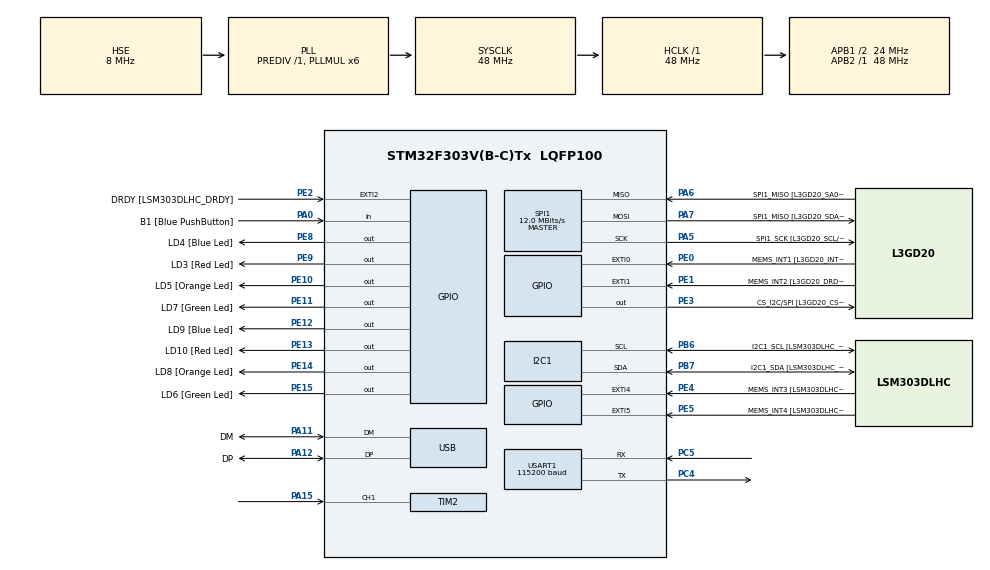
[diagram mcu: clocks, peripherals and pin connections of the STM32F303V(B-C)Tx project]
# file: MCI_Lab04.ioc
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I2C1.Timing=0x00201D2B
I2C1.Timing-I2C=0x2000090E
Mcu.Family=STM32F3
Mcu.Name=STM32F303V(B-C)Tx
Mcu.Package=LQFP100
NVIC.PriorityGroup=NVIC_PRIORITYGROUP_0
NVIC.TIM2_IRQn=true\:0\:0\:false\:false\:true\:true\:true\:true
NVIC.USB_LP_CAN_RX0_IRQn=true\:0\:0\:false\:false\:true\:false\:true\:true
PA0.GPIO_Label=B1 [Blue PushButton]
PA0.Signal=GPIO_Input
PA11.GPIO_Label=DM
PA11.Mode=Device
PA11.Signal=USB_DM
PA12.GPIO_Label=DP
PA12.Mode=Device
PA12.Signal=USB_DP
PA13.GPIO_Label=SWDIO
PA13.Mode=Serial_Wire
PA13.Signal=SYS_JTMS-SWDIO
PA14.GPIO_Label=SWCLK
PA14.Mode=Serial_Wire
PA14.Signal=SYS_JTCK-SWCLK
PA15.Signal=S_TIM2_CH1_ETR
PA5.GPIO_Label=SPI1_SCK [L3GD20_SCL/SPC]
PA5.Mode=Full_Duplex_Master
PA5.Signal=SPI1_SCK
PA6.GPIO_Label=SPI1_MISO [L3GD20_SA0/SDO]
PA6.Mode=Full_Duplex_Master
PA6.Signal=SPI1_MISO
PA7.GPIO_Label=SPI1_MISO [L3GD20_SDA/SDI/SDO]
PA7.Mode=Full_Duplex_Master
PA7.Signal=SPI1_MOSI
PB3.GPIO_Label=SWO
PB3.Signal=SYS_JTDO-TRACESWO
PB6.GPIO_Label=I2C1_SCL [LSM303DLHC_SCL]
PB6.GPIO_Pu=GPIO_PULLUP
PB6.Mode=I2C
PB6.Signal=I2C1_SCL
PB7.GPIO_Label=I2C1_SDA [LSM303DLHC_SDA]
PB7.GPIO_Pu=GPIO_PULLUP
PB7.Mode=I2C
PB7.Signal=I2C1_SDA
PC14-OSC32_IN.GPIO_Label=OSC32_IN
PC14-OSC32_IN.Signal=RCC_OSC32_IN
PC15-OSC32_OUT.GPIO_Label=OSC32_OUT
PC15-OSC32_OUT.Signal=RCC_OSC32_OUT
PC4.Mode=Asynchronous
PC4.Signal=USART1_TX
PC5.Mode=Asynchronous
PC5.Signal=USART1_RX
PE0.GPIO_Label=MEMS_INT1 [L3GD20_INT1]
PE0.GPIO_ModeDefaultEXTI=GPIO_MODE_EVT_RISING
PE0.Signal=GPXTI0
PE1.GPIO_Label=MEMS_INT2 [L3GD20_DRDY/INT2]
PE1.GPIO_ModeDefaultEXTI=GPIO_MODE_EVT_RISING
PE1.Signal=GPXTI1
PE10.GPIO_Label=LD5 [Orange Led]
PE10.Signal=GPIO_Output
PE11.GPIO_Label=LD7 [Green Led]
PE11.Signal=GPIO_Output
PE12.GPIO_Label=LD9 [Blue Led]
PE12.Signal=GPIO_Output
PE13.GPIO_Label=LD10 [Red Led]
PE13.Signal=GPIO_Output
PE14.GPIO_Label=LD8 [Orange Led]
PE14.Signal=GPIO_Output
PE15.GPIO_Label=LD6 [Green Led]
PE15.Signal=GPIO_Output
PE2.GPIO_Label=DRDY [LSM303DLHC_DRDY]
PE2.GPIO_ModeDefaultEXTI=GPIO_MODE_EVT_RISING
PE2.Signal=GPXTI2
PE3.GPIO_Label=CS_I2C/SPI [L3GD20_CS_I2C/SPI]
PE3.Signal=GPIO_Output
PE4.GPIO_Label=MEMS_INT3 [LSM303DLHC_INT1]
PE4.GPIO_ModeDefaultEXTI=GPIO_MODE_EVT_RISING
PE4.Signal=GPXTI4
PE5.GPIO_Label=MEMS_INT4 [LSM303DLHC_INT2]
PE5.GPIO_ModeDefaultEXTI=GPIO_MODE_EVT_RISING
PE5.Signal=GPXTI5
PE8.GPIO_Label=LD4 [Blue Led]
PE8.Signal=GPIO_Output
PE9.GPIO_Label=LD3 [Red Led]
PE9.Signal=GPIO_Output
PF0-OSC_IN.GPIO_Label=OSC_IN
PF0-OSC_IN.Mode=HSE-External-Clock-Source
PF0-OSC_IN.Signal=RCC_OSC_IN
PF1-OSC_OUT.GPIO_Label=OSC_OUT
PF1-OSC_OUT.Signal=RCC_OSC_OUT
ProjectManager.HeapSize=0x200
ProjectManager.StackSize=0x400
ProjectManager.TargetToolchain=CMake
RCC.AHBFreq_Value=48000000
RCC.APB1CLKDivider=RCC_HCLK_DIV2
RCC.APB1Freq_Value=24000000
RCC.APB1TimFreq_Value=48000000
RCC.APB2Freq_Value=48000000
RCC.APB2TimFreq_Value=48000000
RCC.CortexFreq_Value=48000000
RCC.HCLKFreq_Value=48000000
RCC.HSE_VALUE=8000000
RCC.HSI_VALUE=8000000
RCC.LSE_VALUE=32768
RCC.PLLMUL=RCC_PLL_MUL6
RCC.SYSCLKFreq_VALUE=48000000
RCC.SYSCLKSourceVirtual=RCC_SYSCLKSOURCE_PLLCLK
RCC.USBFreq_Value=48000000
SH.S_TIM2_CH1_ETR.0=TIM2_CH1,Input_Capture1_from_TI1
SPI1.BaudRatePrescaler=SPI_BAUDRATEPRESCALER_4
SPI1.BaudRatePrescaler-Full_Duplex_Master=SPI_BAUDRATEPRESCALER_2
SPI1.CalculateBaudRate=12.0 MBits/s
SPI1.CalculateBaudRate-Full_Duplex_Master=24.0 MBits/s
SPI1.Direction=SPI_DIRECTION_2LINES
SPI1.Mode=SPI_MODE_MASTER
SPI1.Mode-Full_Duplex_Master=SPI_MODE_MASTER
SPI1.VirtualType=VM_MASTER
TIM2.Channel-Input_Capture1_from_TI1=TIM_CHANNEL_1
TIM2.Period=65535
TIM2.Prescaler=47
USART1.BaudRate=115200
USART1.VirtualMode-Asynchronous=VM_ASYNC
USB_DEVICE.CLASS_NAME_FS=CDC
USB_DEVICE.VirtualMode=Cdc
USB_DEVICE.VirtualModeFS=Cdc_FS
VP_USB_DEVICE_VS_USB_DEVICE_CDC_FS.Mode=CDC_FS
board=STM32F3DISCOVERY

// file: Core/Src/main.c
/* USER CODE BEGIN Header */
/**
  ******************************************************************************
  * @file           : main.c
  * @brief          : Main program body
  ******************************************************************************
  * @attention
  *
  * Copyright (c) 2026 STMicroelectronics.
  * All rights reserved.
  *
  * This software is licensed under terms that can be found in the LICENSE file
  * in the root directory of this software component.
  * If no LICENSE file comes with this software, it is provided AS-IS.
  *
  ******************************************************************************
  */
/* USER CODE END Header */
#include "main.h"
#include "usb_device.h"

/* USER CODE BEGIN Includes */
#include <stdarg.h>
#include <stdio.h>
#include <string.h>
/* USER CODE END Includes */

I2C_HandleTypeDef hi2c1;

SPI_HandleTypeDef hspi1;

TIM_HandleTypeDef htim2;

UART_HandleTypeDef huart1;

/* USER CODE BEGIN PV */
// // Task 4: LED counters
uint32_t count_red = 0;
uint32_t count_blue = 0;
uint32_t count_green = 0;

uint32_t ic_val1 = 0;      // First capture timestamp
uint32_t ic_val2 = 0;      // Second capture timestamp
uint32_t difference = 0;   // The period (in timer ticks)
uint8_t is_first_capture = 1; // Flag to track step 1 vs step 2

/* USER CODE END PV */

void SystemClock_Config(void);
static void MX_GPIO_Init(void);
static void MX_I2C1_Init(void);
static void MX_SPI1_Init(void);
static void MX_TIM2_Init(void);
static void MX_USART1_UART_Init(void);

/* USER CODE BEGIN 0 */
void delay_ms(uint32_t ms)
{
  __HAL_TIM_SET_COUNTER(&htim2, 0);
  HAL_TIM_Base_Start(&htim2);
  while (__HAL_TIM_GET_COUNTER(&htim2) < ms){}
  HAL_TIM_Base_Stop(&htim2);
}
    uint32_t a = 0;
    uint32_t b = 0;
    uint32_t c = 0;

  void HAL_TIM_PeriodElapsedCallback(TIM_HandleTypeDef *htim){

    if (htim->Instance == TIM2) {
      a++;
      b++;
      c++;
    }
    if(a>=500){
      HAL_GPIO_TogglePin(GPIOE, LD3_Pin);
      a=0;
    }
    if(b>=200){
      HAL_GPIO_TogglePin(GPIOE, LD4_Pin);
      b=0;
    }
    if(c>=100){
      HAL_GPIO_TogglePin(GPIOE, LD7_Pin);
      c=0;
    }

 }

 void myPrintf(const char *fmt, ...){
    char buffer[100];
    va_list args;
    va_start(args, fmt);
    vsnprintf(buffer, sizeof(buffer), fmt, args);
    va_end(args);

    uint8_t length = strlen(buffer);
    HAL_UART_Transmit(&huart1, (uint8_t *)buffer, length, HAL_MAX_DELAY);

  }

//  uint32_t last_capture = 0, period = 0;
//  uint32_t frequency = 0;
//  void HAL_TIM_IC_CaptureCallback ( TIM_HandleTypeDef *htim) {
//     if (htim -> Channel == HAL_TIM_ACTIVE_CHANNEL_1 ) {
//     uint32_t current_capture = HAL_TIM_ReadCapturedValue (htim , TIM_CHANNEL_1 );
//     period = current_capture - last_capture ;
//     last_capture = current_capture;
//     frequency = 1000/(period*7999);
//   }
//  }

//  void HAL_TIM_IC_CaptureCallback(TIM_HandleTypeDef *htim)
// {
//     if (htim->Channel == HAL_TIM_ACTIVE_CHANNEL_1)
//     {
//         if (is_first_capture)
//         {
//             ic_val1 = HAL_TIM_ReadCapturedValue(htim, TIM_CHANNEL_1);
//             is_first_capture = 0;
//         }
//         else
//         {
//             ic_val2 = HAL_TIM_ReadCapturedValue(htim, TIM_CHANNEL_1);

//             // Calculate difference, handling 16-bit counter rollover
//             if (ic_val2 > ic_val1) {
//                 difference = ic_val2 - ic_val1;
//             } else {
//                 difference = (0xFFFF - ic_val1) + ic_val2;
//             }

//             // Calc Frequency: Clock is 1MHz (48MHz / 48), so F = 1,000,000 / Period
//             if (difference != 0) {
//                 frequency = 1000 / (float)difference;
//             }

//             is_first_capture = 1;
//         }
//     }
// }
//float last_capture = 0.0f;
//float frequency = 0.0f;

volatile uint32_t last_capture = 0, period = 0;
float frequency = 0.0f;

void HAL_TIM_IC_CaptureCallback(TIM_HandleTypeDef *htim)
{
    if (htim->Channel == HAL_TIM_ACTIVE_CHANNEL_1) {
        uint32_t current_capture = HAL_TIM_ReadCapturedValue(htim, TIM_CHANNEL_1);
        period = current_capture - last_capture;
        last_capture = current_capture;
        if (period != 0) {
            frequency = 1000000.0f / (float)period;
        }
    }
}
/* USER CODE END 0 */

int main(void)
{

  /* MCU Configuration--------------------------------------------------------*/

  /* Reset of all peripherals, Initializes the Flash interface and the Systick. */
  HAL_Init();

  /* Configure the system clock */
  SystemClock_Config();

  /* Initialize all configured peripherals */
  MX_GPIO_Init();
  MX_I2C1_Init();
  MX_SPI1_Init();
  MX_TIM2_Init();
  MX_USART1_UART_Init();
  MX_USB_DEVICE_Init();
  /* USER CODE BEGIN 2 */
  //HAL_TIM_Base_Start_IT(&htim2);
  // HAL_TIM_IC_Start_IT(&htim2, TIM_CHANNEL_1);

  HAL_TIM_IC_Start_IT(&htim2, TIM_CHANNEL_1);

  //myPrintf("Frequency: %.2f Hz\r\n", frequency);
  //myPrintf("frequency is %d Hz\n\r", frequency);
  /* USER CODE END 2 */

  /* Infinite loop */
  while (1)
  {
    myPrintf("Period = %lu ms, Frequency = %.2f Hz\r\n", period, frequency);
    HAL_Delay(500);
    /* USER CODE BEGIN 3 */
     // Print frequency to Terminal (baud 38400)
    //myPrintf("Frequency: %.2f Hz\r\n", frequency);
//myPrintf("test");
    // HAL_GPIO_TogglePin(GPIOE,  LD7_Pin);
    // delay_ms(1000);

  }
  /* USER CODE END 3 */
}

void SystemClock_Config(void)
{
  RCC_OscInitTypeDef RCC_OscInitStruct = {0};
  RCC_ClkInitTypeDef RCC_ClkInitStruct = {0};
  RCC_PeriphCLKInitTypeDef PeriphClkInit = {0};

  /** Initializes the RCC Oscillators according to the specified parameters
  * in the RCC_OscInitTypeDef structure.
  */
  RCC_OscInitStruct.OscillatorType = RCC_OSCILLATORTYPE_HSI|RCC_OSCILLATORTYPE_HSE;
  RCC_OscInitStruct.HSEState = RCC_HSE_BYPASS;
  RCC_OscInitStruct.HSEPredivValue = RCC_HSE_PREDIV_DIV1;
  RCC_OscInitStruct.HSIState = RCC_HSI_ON;
  RCC_OscInitStruct.HSICalibrationValue = RCC_HSICALIBRATION_DEFAULT;
  RCC_OscInitStruct.PLL.PLLState = RCC_PLL_ON;
  RCC_OscInitStruct.PLL.PLLSource = RCC_PLLSOURCE_HSE;
  RCC_OscInitStruct.PLL.PLLMUL = RCC_PLL_MUL6;
  if (HAL_RCC_OscConfig(&RCC_OscInitStruct) != HAL_OK)
  {
    Error_Handler();
  }

  /** Initializes the CPU, AHB and APB buses clocks
  */
  RCC_ClkInitStruct.ClockType = RCC_CLOCKTYPE_HCLK|RCC_CLOCKTYPE_SYSCLK
                              |RCC_CLOCKTYPE_PCLK1|RCC_CLOCKTYPE_PCLK2;
  RCC_ClkInitStruct.SYSCLKSource = RCC_SYSCLKSOURCE_PLLCLK;
  RCC_ClkInitStruct.AHBCLKDivider = RCC_SYSCLK_DIV1;
  RCC_ClkInitStruct.APB1CLKDivider = RCC_HCLK_DIV2;
  RCC_ClkInitStruct.APB2CLKDivider = RCC_HCLK_DIV1;

  if (HAL_RCC_ClockConfig(&RCC_ClkInitStruct, FLASH_LATENCY_1) != HAL_OK)
  {
    Error_Handler();
  }
  PeriphClkInit.PeriphClockSelection = RCC_PERIPHCLK_USB|RCC_PERIPHCLK_USART1
                              |RCC_PERIPHCLK_I2C1;
  PeriphClkInit.Usart1ClockSelection = RCC_USART1CLKSOURCE_PCLK2;
  PeriphClkInit.I2c1ClockSelection = RCC_I2C1CLKSOURCE_HSI;
  PeriphClkInit.USBClockSelection = RCC_USBCLKSOURCE_PLL;
  if (HAL_RCCEx_PeriphCLKConfig(&PeriphClkInit) != HAL_OK)
  {
    Error_Handler();
  }
}

static void MX_I2C1_Init(void)
{

  hi2c1.Instance = I2C1;
  hi2c1.Init.Timing = 0x00201D2B;
  hi2c1.Init.OwnAddress1 = 0;
  hi2c1.Init.AddressingMode = I2C_ADDRESSINGMODE_7BIT;
  hi2c1.Init.DualAddressMode = I2C_DUALADDRESS_DISABLE;
  hi2c1.Init.OwnAddress2 = 0;
  hi2c1.Init.OwnAddress2Masks = I2C_OA2_NOMASK;
  hi2c1.Init.GeneralCallMode = I2C_GENERALCALL_DISABLE;
  hi2c1.Init.NoStretchMode = I2C_NOSTRETCH_DISABLE;
  if (HAL_I2C_Init(&hi2c1) != HAL_OK)
  {
    Error_Handler();
  }

  /** Configure Analogue filter
  */
  if (HAL_I2CEx_ConfigAnalogFilter(&hi2c1, I2C_ANALOGFILTER_ENABLE) != HAL_OK)
  {
    Error_Handler();
  }

  /** Configure Digital filter
  */
  if (HAL_I2CEx_ConfigDigitalFilter(&hi2c1, 0) != HAL_OK)
  {
    Error_Handler();
  }

}

static void MX_SPI1_Init(void)
{

  /* SPI1 parameter configuration*/
  hspi1.Instance = SPI1;
  hspi1.Init.Mode = SPI_MODE_MASTER;
  hspi1.Init.Direction = SPI_DIRECTION_2LINES;
  hspi1.Init.DataSize = SPI_DATASIZE_4BIT;
  hspi1.Init.CLKPolarity = SPI_POLARITY_LOW;
  hspi1.Init.CLKPhase = SPI_PHASE_1EDGE;
  hspi1.Init.NSS = SPI_NSS_SOFT;
  hspi1.Init.BaudRatePrescaler = SPI_BAUDRATEPRESCALER_4;
  hspi1.Init.FirstBit = SPI_FIRSTBIT_MSB;
  hspi1.Init.TIMode = SPI_TIMODE_DISABLE;
  hspi1.Init.CRCCalculation = SPI_CRCCALCULATION_DISABLE;
  hspi1.Init.CRCPolynomial = 7;
  hspi1.Init.CRCLength = SPI_CRC_LENGTH_DATASIZE;
  hspi1.Init.NSSPMode = SPI_NSS_PULSE_ENABLE;
  if (HAL_SPI_Init(&hspi1) != HAL_OK)
  {
    Error_Handler();
  }

}

static void MX_TIM2_Init(void)
{

  TIM_MasterConfigTypeDef sMasterConfig = {0};
  TIM_IC_InitTypeDef sConfigIC = {0};

  htim2.Instance = TIM2;
  htim2.Init.Prescaler = 47;
  htim2.Init.CounterMode = TIM_COUNTERMODE_UP;
  htim2.Init.Period = 65535;
  htim2.Init.ClockDivision = TIM_CLOCKDIVISION_DIV1;
  htim2.Init.AutoReloadPreload = TIM_AUTORELOAD_PRELOAD_DISABLE;
  if (HAL_TIM_IC_Init(&htim2) != HAL_OK)
  {
    Error_Handler();
  }
  sMasterConfig.MasterOutputTrigger = TIM_TRGO_RESET;
  sMasterConfig.MasterSlaveMode = TIM_MASTERSLAVEMODE_DISABLE;
  if (HAL_TIMEx_MasterConfigSynchronization(&htim2, &sMasterConfig) != HAL_OK)
  {
    Error_Handler();
  }
  sConfigIC.ICPolarity = TIM_INPUTCHANNELPOLARITY_RISING;
  sConfigIC.ICSelection = TIM_ICSELECTION_DIRECTTI;
  sConfigIC.ICPrescaler = TIM_ICPSC_DIV1;
  sConfigIC.ICFilter = 0;
  if (HAL_TIM_IC_ConfigChannel(&htim2, &sConfigIC, TIM_CHANNEL_1) != HAL_OK)
  {
    Error_Handler();
  }

}

static void MX_USART1_UART_Init(void)
{

  huart1.Instance = USART1;
  huart1.Init.BaudRate = 115200;
  huart1.Init.WordLength = UART_WORDLENGTH_8B;
  huart1.Init.StopBits = UART_STOPBITS_1;
  huart1.Init.Parity = UART_PARITY_NONE;
  huart1.Init.Mode = UART_MODE_TX_RX;
  huart1.Init.HwFlowCtl = UART_HWCONTROL_NONE;
  huart1.Init.OverSampling = UART_OVERSAMPLING_16;
  huart1.Init.OneBitSampling = UART_ONE_BIT_SAMPLE_DISABLE;
  huart1.AdvancedInit.AdvFeatureInit = UART_ADVFEATURE_NO_INIT;
  if (HAL_UART_Init(&huart1) != HAL_OK)
  {
    Error_Handler();
  }

}

static void MX_GPIO_Init(void)
{
  GPIO_InitTypeDef GPIO_InitStruct = {0};

  /* GPIO Ports Clock Enable */
  __HAL_RCC_GPIOE_CLK_ENABLE();
  __HAL_RCC_GPIOC_CLK_ENABLE();
  __HAL_RCC_GPIOF_CLK_ENABLE();
  __HAL_RCC_GPIOA_CLK_ENABLE();
  __HAL_RCC_GPIOB_CLK_ENABLE();

  /*Configure GPIO pin Output Level */
  HAL_GPIO_WritePin(GPIOE, CS_I2C_SPI_Pin|LD4_Pin|LD3_Pin|LD5_Pin
                          |LD7_Pin|LD9_Pin|LD10_Pin|LD8_Pin
                          |LD6_Pin, GPIO_PIN_RESET);

  /*Configure GPIO pins : DRDY_Pin MEMS_INT3_Pin MEMS_INT4_Pin MEMS_INT1_Pin
                           MEMS_INT2_Pin */
  GPIO_InitStruct.Pin = DRDY_Pin|MEMS_INT3_Pin|MEMS_INT4_Pin|MEMS_INT1_Pin
                          |MEMS_INT2_Pin;
  GPIO_InitStruct.Mode = GPIO_MODE_EVT_RISING;
  GPIO_InitStruct.Pull = GPIO_NOPULL;
  HAL_GPIO_Init(GPIOE, &GPIO_InitStruct);

  /*Configure GPIO pins : CS_I2C_SPI_Pin LD4_Pin LD3_Pin LD5_Pin
                           LD7_Pin LD9_Pin LD10_Pin LD8_Pin
                           LD6_Pin */
  GPIO_InitStruct.Pin = CS_I2C_SPI_Pin|LD4_Pin|LD3_Pin|LD5_Pin
                          |LD7_Pin|LD9_Pin|LD10_Pin|LD8_Pin
                          |LD6_Pin;
  GPIO_InitStruct.Mode = GPIO_MODE_OUTPUT_PP;
  GPIO_InitStruct.Pull = GPIO_NOPULL;
  GPIO_InitStruct.Speed = GPIO_SPEED_FREQ_LOW;
  HAL_GPIO_Init(GPIOE, &GPIO_InitStruct);

  /*Configure GPIO pin : B1_Pin */
  GPIO_InitStruct.Pin = B1_Pin;
  GPIO_InitStruct.Mode = GPIO_MODE_INPUT;
  GPIO_InitStruct.Pull = GPIO_NOPULL;
  HAL_GPIO_Init(B1_GPIO_Port, &GPIO_InitStruct);

}

void Error_Handler(void)
{
  __disable_irq();
  while (1)
  {
  }
}
